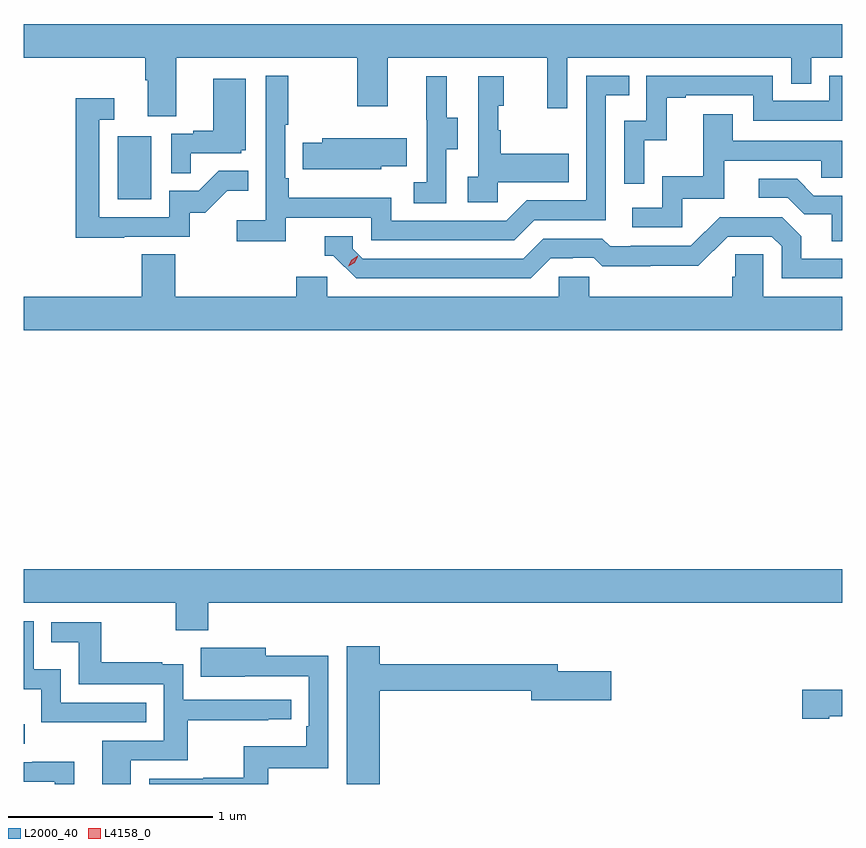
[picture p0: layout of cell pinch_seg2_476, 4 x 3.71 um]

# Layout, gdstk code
import gdstk
lib = gdstk.Library(unit=1e-6, precision=1e-09)
def R(c, l, rs):  # rectangles x0, y0, x1, y1
    for r in rs: c.add(gdstk.rectangle(r[:2], r[2:], *l))
def P(c, l, *ps):  # polygons
    for p in ps: c.add(gdstk.Polygon(p, *l))
L2000_40 = (2000, 40)
L4158_0 = (4158, 0)

pinch_seg2_476 = lib.new_cell('pinch_seg2_476')
R(pinch_seg2_476, L2000_40, [(924.767,584.343,924.772,584.44), (925.226,587.004,925.39,587.311)])
P(pinch_seg2_476, L2000_40, [(925.513,587.696),(926.398,587.696),(926.398,587.457),(926.545,587.457),(926.545,587.696),(927.326,587.696),(927.326,587.448),(927.423,587.448),(927.423,587.696),(928.518,587.696),(928.518,587.569),(928.614,587.569),(928.614,587.696),(928.767,587.696),(928.767,587.86),(924.767,587.86),(924.767,587.696),(925.361,587.696),(925.361,587.584),(925.373,587.584),(925.373,587.41),(925.513,587.41)],
  [(926.048,586.914),(926.466,586.914),(926.466,586.803),(927.163,586.803),(927.262,586.902),(927.612,586.902),(927.612,587.511),(927.725,587.511),(927.725,587.607),(927.516,587.607),(927.516,586.998),(927.225,586.998),(927.126,586.899),(926.562,586.899),(926.562,587.011),(926.063,587.011),(926.063,587.107),(926.046,587.107),(926.046,587.368),(926.059,587.368),(926.059,587.608),(925.95,587.608),(925.95,586.9),(925.809,586.9),(925.809,586.798),(926.048,586.798)],
  [(927.798,587.291),(927.908,587.291),(927.908,587.499),(928.003,587.499),(928.003,587.511),(928.332,587.511),(928.332,587.388),(928.767,587.388),(928.767,587.607),(928.704,587.607),(928.704,587.484),(928.428,587.484),(928.428,587.607),(927.81,587.607),(927.81,587.388),(927.702,587.388),(927.702,587.079),(927.798,587.079)],
  [(926.832,587.248),(926.887,587.248),(926.887,587.403),(926.833,587.403),(926.833,587.605),(926.735,587.605),(926.735,587.391),(926.736,587.391),(926.736,587.087),(926.673,587.087),(926.673,586.984),(926.832,586.984)],
  [(927.084,587.087),(927.431,587.087),(927.431,587.227),(927.097,587.227),(927.097,587.342),(927.087,587.342),(927.087,587.46),(927.112,587.46),(927.112,587.605),(926.988,587.605),(926.988,587.114),(926.937,587.114),(926.937,586.989),(927.084,586.989)],
  [(925.583,587.229),(925.83,587.229),(925.83,587.244),(925.852,587.244),(925.852,587.593),(925.694,587.593),(925.694,587.338),(925.595,587.338),(925.595,587.325),(925.488,587.325),(925.488,587.131),(925.583,587.131)],
  [(925.259,586.821),(925.578,586.821),(925.578,586.938),(925.654,586.938),(925.761,587.045),(925.865,587.045),(925.865,587.144),(925.721,587.144),(925.623,587.046),(925.479,587.046),(925.479,586.917),(925.137,586.917),(925.137,587.391),(925.21,587.391),(925.21,587.497),(925.021,587.497),(925.021,586.816),(925.259,586.816)],
  [(927.984,587.007),(928.189,587.007),(928.189,587.193),(928.663,587.193),(928.663,587.109),(928.767,587.109),(928.767,587.289),(928.231,587.289),(928.231,587.419),(928.087,587.419),(928.087,587.116),(927.888,587.116),(927.888,586.962),(927.741,586.962),(927.741,586.866),(927.984,586.866)],
  [(926.514,587.165),(926.639,587.165),(926.639,587.302),(926.225,587.302),(926.225,587.28),(926.131,587.28),(926.131,587.151),(926.242,587.151),(926.242,587.15),(926.514,587.15)],
  [(928.767,587.022),(928.627,587.022),(928.546,587.103),(928.359,587.103),(928.359,587.01),(928.5,587.01),(928.58,586.93),(928.715,586.93),(928.715,586.798),(928.767,586.798)],
  [(927.343,586.716),(927.45,586.716),(927.45,586.719),(927.553,586.719),(927.595,586.677),(927.828,586.677),(927.828,586.679),(928.064,586.679),(928.206,586.821),(928.422,586.821),(928.47,586.773),(928.47,586.617),(928.767,586.617),(928.767,586.713),(928.567,586.713),(928.567,586.823),(928.473,586.917),(928.167,586.917),(928.026,586.776),(927.733,586.776),(927.733,586.773),(927.634,586.773),(927.595,586.812),(927.306,586.812),(927.207,586.713),(926.424,586.713),(926.376,586.761),(926.376,586.824),(926.237,586.824),(926.237,586.728),(926.28,586.728),(926.391,586.617),(927.244,586.617)],
  [(928.767,586.528),(928.38,586.528),(928.38,586.736),(928.243,586.736),(928.243,586.626),(928.229,586.626),(928.229,586.528),(927.531,586.528),(927.531,586.626),(927.381,586.626),(927.381,586.528),(926.25,586.528),(926.25,586.626),(926.099,586.626),(926.099,586.528),(925.508,586.528),(925.508,586.736),(925.343,586.736),(925.343,586.528),(924.767,586.528),(924.767,586.364),(928.767,586.364)],
  [(925.67,585.032),(928.767,585.032),(928.767,585.196),(924.767,585.196),(924.767,585.032),(925.51,585.032),(925.51,584.897),(925.67,584.897)],
  [(925.367,584.544),(924.948,584.544),(924.948,584.707),(924.816,584.707),(924.816,584.943),(924.767,584.943),(924.767,584.609),(924.852,584.609),(924.852,584.448),(925.367,584.448)],
  [(925.291,584.262),(925.568,584.262),(925.568,584.458),(925.961,584.458),(925.961,584.463),(926.074,584.463),(926.074,584.559),(925.548,584.559),(925.548,584.731),(925.445,584.731),(925.445,584.743),(925.147,584.743),(925.147,584.937),(924.901,584.937),(924.901,584.84),(925.036,584.84),(925.036,584.634),(925.452,584.634),(925.452,584.358),(925.151,584.358),(925.151,584.147),(925.291,584.147)],
  [(926.506,584.602),(927.248,584.602),(927.248,584.555),(927.637,584.555),(927.637,584.697),(927.376,584.697),(927.376,584.731),(926.506,584.731),(926.506,584.821),(926.345,584.821),(926.345,584.147),(926.506,584.147)],
  [(925.963,584.223),(926.256,584.223),(926.256,584.774),(925.951,584.774),(925.951,584.812),(925.633,584.812),(925.633,584.672),(925.847,584.672),(925.847,584.673),(926.16,584.673),(926.16,584.428),(926.147,584.428),(926.147,584.332),(925.842,584.332),(925.842,584.177),(925.645,584.177),(925.645,584.172),(925.38,584.172),(925.38,584.147),(925.963,584.147)],
  [(928.704,584.477),(928.767,584.477),(928.767,584.607),(928.572,584.607),(928.572,584.465),(928.704,584.465)],
  [(925.015,584.255),(924.81,584.255),(924.81,584.253),(924.767,584.253),(924.767,584.157),(924.918,584.157),(924.918,584.147),(925.015,584.147)])
P(pinch_seg2_476, L4158_0, [(926.352,586.676),(926.352,586.676),(926.369,586.708),(926.4,586.727),(926.4,586.727),(926.4,586.726),(926.384,586.694),(926.353,586.676)])

lib.write_gds('pinch_seg2_476.gds')
